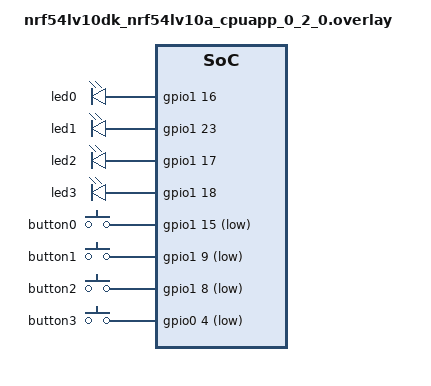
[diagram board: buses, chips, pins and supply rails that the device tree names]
/*
 * Copyright (c) 2025 Nordic Semiconductor ASA
 *
 * SPDX-License-Identifier: LicenseRef-Nordic-5-Clause
 */

/ {
	leds {
		compatible = "gpio-leds";

		led0: led_0 {
			gpios = <&gpio1 16 GPIO_ACTIVE_HIGH>;
		};

		led1: led_1 {
			gpios = <&gpio1 23 GPIO_ACTIVE_HIGH>;
		};

		led2: led_2 {
			gpios = <&gpio1 17 GPIO_ACTIVE_HIGH>;
		};

		led3: led_3 {
			gpios = <&gpio1 18 GPIO_ACTIVE_HIGH>;
		};
	};

	buttons {
		compatible = "gpio-keys";

		button0: button_0 {
			gpios = <&gpio1 15 (GPIO_PULL_UP | GPIO_ACTIVE_LOW)>;
		};

		button1: button_1 {
			gpios = <&gpio1 9 (GPIO_PULL_UP | GPIO_ACTIVE_LOW)>;
		};

		button2: button_2 {
			gpios = <&gpio1 8 (GPIO_PULL_UP | GPIO_ACTIVE_LOW)>;
		};

		button3: button_3 {
			gpios = <&gpio0 4 (GPIO_PULL_UP | GPIO_ACTIVE_LOW)>;
		};
	};
};

&hfpll {
	clock-frequency = <DT_FREQ_M(128)>;
};

&pinctrl {
	/omit-if-no-ref/ uart20_default: uart20_default {
		group1 {
			psels = <NRF_PSEL(UART_TX, 1, 4)>;
		};

		group2 {
			psels = <NRF_PSEL(UART_RX, 1, 5)>;
			bias-pull-up;
		};
	};

	/omit-if-no-ref/ uart20_sleep: uart20_sleep {
		group1 {
			psels = <NRF_PSEL(UART_TX, 1, 4)>,
				<NRF_PSEL(UART_RX, 1, 5)>;
			low-power-enable;
		};
	};
};
